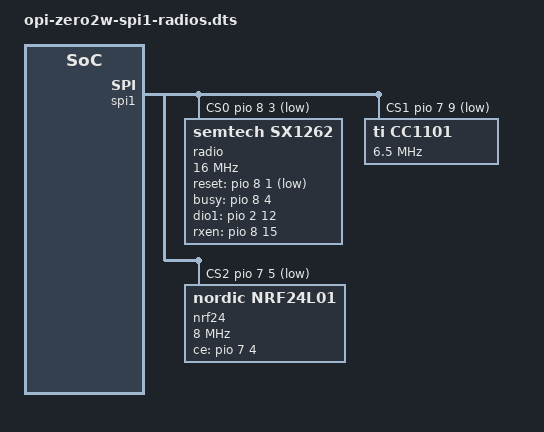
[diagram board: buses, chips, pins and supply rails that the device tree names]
/dts-v1/;
/plugin/;

/* Zero 2W 40-pin header. The SPI core drives three active-low GPIO selects.
 * Leave PH5/PH9 in GPIO mode; the SPI mux group contains only CLK/MOSI/MISO. */
&spi1 {
    #address-cells = <1>;
    #size-cells = <0>;
    pinctrl-names = "default";
    pinctrl-0 = <&spi1_pins>;
    num-cs = <3>;
    cs-gpios = <&pio 8 3 1>, <&pio 7 9 1>, <&pio 7 5 1>;
    status = "okay";

    radio@0 {
        compatible = "semtech,sx1262", "armbian,spi-dev";
        reg = <0>; /* Waveshare NSS, pin 40 */
        spi-max-frequency = <16000000>;
        reset-gpios = <&pio 8 1 1>;
        busy-gpios = <&pio 8 4 0>;
        dio1-gpios = <&pio 2 12 0>;
        rxen-gpios = <&pio 8 15 0>; /* Antenna switch: high selects RX. */
    };
    cc1101@1 {
        compatible = "ti,cc1101", "armbian,spi-dev";
        reg = <1>; /* CC1101 CSn, pin 26 */
        spi-max-frequency = <6500000>;
    };
    nrf24@2 {
        compatible = "nordic,nrf24l01", "armbian,spi-dev";
        reg = <2>; /* nRF24 CSN, pin 24 */
        spi-max-frequency = <8000000>;
        ce-gpios = <&pio 7 4 0>; /* CE, pin 18. Owned by the client at runtime. */
    };
};
